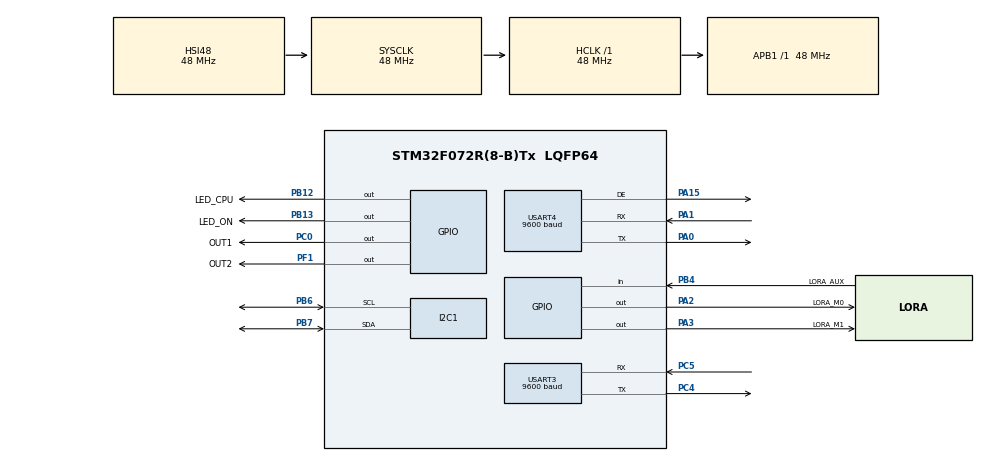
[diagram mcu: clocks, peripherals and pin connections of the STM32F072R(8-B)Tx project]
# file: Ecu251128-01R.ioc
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I2C1.Timing=0x00201D2B
IWDG.Prescaler=IWDG_PRESCALER_64
Mcu.Family=STM32F0
Mcu.Name=STM32F072R(8-B)Tx
Mcu.Package=LQFP64
NVIC.TIM3_IRQn=true\:0\:0\:false\:false\:true\:true\:true\:true
NVIC.USART3_4_IRQn=true\:0\:0\:false\:false\:true\:true\:true\:true
PA0.Mode=Asynchronous
PA0.Signal=USART4_TX
PA1.Mode=Asynchronous
PA1.Signal=USART4_RX
PA15.Mode=Hardware Flow Control (RS485)
PA15.Signal=USART4_DE
PA2.GPIO_Label=LORA_M0
PA2.Signal=GPIO_Output
PA3.GPIO_Label=LORA_M1
PA3.Signal=GPIO_Output
PB12.GPIO_Label=LED_CPU
PB12.Signal=GPIO_Output
PB13.GPIO_Label=LED_ON
PB13.Signal=GPIO_Output
PB4.GPIO_Label=LORA_AUX
PB4.GPIO_PuPd=GPIO_PULLUP
PB4.Signal=GPIO_Input
PB6.Mode=I2C
PB6.Signal=I2C1_SCL
PB7.Mode=I2C
PB7.Signal=I2C1_SDA
PC0.GPIO_Label=OUT1
PC0.Signal=GPIO_Output
PC4.Mode=Asynchronous
PC4.Signal=USART3_TX
PC5.Mode=Asynchronous
PC5.Signal=USART3_RX
PF1-OSC_OUT.GPIO_Label=OUT2
PF1-OSC_OUT.Signal=GPIO_Output
ProjectManager.HeapSize=0x200
ProjectManager.StackSize=0x400
ProjectManager.TargetToolchain=STM32CubeIDE
RCC.AHBFreq_Value=48000000
RCC.APB1Freq_Value=48000000
RCC.APB1TimFreq_Value=48000000
RCC.HCLKFreq_Value=48000000
RCC.SYSCLKFreq_VALUE=48000000
RCC.SYSCLKSource=RCC_SYSCLKSOURCE_HSI48
TIM2.Prescaler=48-1
TIM3.Period=10-1
TIM3.Prescaler=480-1
USART3.BaudRate=9600
USART3.VirtualMode-Asynchronous=VM_ASYNC
USART4.BaudRate=9600
USART4.VirtualMode-Asynchronous=VM_ASYNC
USART4.VirtualMode-Hardware\ Flow\ Control\ (RS485)=VM_ASYNC
VP_IWDG_VS_IWDG.Mode=IWDG_Activate
VP_TIM2_VS_ClockSourceINT.Mode=Internal
VP_TIM3_VS_ClockSourceINT.Mode=Internal
board=custom

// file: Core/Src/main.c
/* USER CODE BEGIN Header */
/**
  ******************************************************************************
  * @file           : main.c
  * @brief          : Main program body
  ******************************************************************************
  * @attention
  *
  * Copyright (c) 2025 STMicroelectronics.
  * All rights reserved.
  *
  * This software is licensed under terms that can be found in the LICENSE file
  * in the root directory of this software component.
  * If no LICENSE file comes with this software, it is provided AS-IS.
  *
  ******************************************************************************
  */
/* USER CODE END Header */
#include "main.h"

/* USER CODE BEGIN Includes */
#include "global.h"
/* USER CODE END Includes */

I2C_HandleTypeDef hi2c1;

IWDG_HandleTypeDef hiwdg;

TIM_HandleTypeDef htim2;
TIM_HandleTypeDef htim3;

UART_HandleTypeDef huart3;
UART_HandleTypeDef huart4;

/* USER CODE BEGIN PV */
uint8_t
	flagAcionamento = false,

	flagLedCOM = false,

	flagPacoteRS485 = false,
	flagPacoteLora = false;

uint8_t
	contadorRS485Buffer = 0,
	contadorLoraBuffer = 0,
	contadorTimeoutLora = 0,
	contadorTimeoutTransmissor = 0,

	contadorRele1 = 0,
	contadorRele2 = 0,

	canalLora = 0;

uint16_t
	enderecoLoraTransmissor = 0,
	enderecoLoraReceptor = 0;

char
	loraDataIn = 0x00,
	rs485DataIn = 0x00;

char
	bufferRS485[TAMANHO_BUFFER_RS485],
	bufferEnviaRS485[TAMANHO_BUFFER_RS485],
	bufferLora[TAMANHO_BUFFER_LORA],
	bufferEnvioLora[TAMANHO_BUFFER_LORA];

/* USER CODE END PV */

void SystemClock_Config(void);
static void MX_GPIO_Init(void);
static void MX_I2C1_Init(void);
static void MX_IWDG_Init(void);
static void MX_TIM2_Init(void);
static void MX_TIM3_Init(void);
static void MX_USART3_UART_Init(void);
static void MX_USART4_UART_Init(void);

/* USER CODE BEGIN 0 */
void HAL_TIM_PeriodElapsedCallback(TIM_HandleTypeDef *htim) {
	if(htim == &htim3) {
		schedulerEngine();
	}
}

void HAL_UART_RxCpltCallback(UART_HandleTypeDef *huart) {
	if(huart-> Instance==USART3) {
		bufferLora[contadorLoraBuffer] = loraDataIn;
		contadorLoraBuffer ++;

		if(contadorLoraBuffer >= TAMANHO_BUFFER_LORA) {
			apagaLoraBuffer();
		}

		//HAL_UART_Transmit(&huart4, &loraDataIn, 1, 100); //Debug

		if(loraDataIn == 0x0A) {
			flagPacoteLora = true;
		}
	}

	if(huart-> Instance==USART4) { //RS485
		if(rs485DataIn == 0x00) {
			return;
		}
		bufferRS485[contadorRS485Buffer] = rs485DataIn;
		contadorRS485Buffer ++;

		if(contadorRS485Buffer >= TAMANHO_BUFFER_RS485) {
			apagaRS485Buffer();
		}

		if(rs485DataIn == 0x0A) {
			flagPacoteRS485 = true;
		}
	}
}

void delayMicro(uint32_t tempo) {
	__HAL_TIM_SET_COUNTER(&htim2, 0);
	while(__HAL_TIM_GET_COUNTER(&htim2) < tempo) {
	}
}

void reiniciaWatchDog() {
	HAL_IWDG_Refresh(&hiwdg);
}

/* USER CODE END 0 */

int main(void)
{

  /* MCU Configuration--------------------------------------------------------*/

  /* Reset of all peripherals, Initializes the Flash interface and the Systick. */
  HAL_Init();

  /* Configure the system clock */
  SystemClock_Config();

  /* Initialize all configured peripherals */
  MX_GPIO_Init();
  MX_I2C1_Init();
  MX_IWDG_Init();
  MX_TIM2_Init();
  MX_TIM3_Init();
  MX_USART3_UART_Init();
  MX_USART4_UART_Init();
  /* USER CODE BEGIN 2 */

  HAL_TIM_Base_Start(&htim2); //Timer do delay us
  HAL_TIM_Base_Start_IT(&htim3); //Timer do Scheduller

  off(LORA_M0_GPIO_Port, LORA_M0_Pin);
  off(LORA_M1_GPIO_Port, LORA_M1_Pin);

  verificaEeprom();
  readEeprom();

  /* USER CODE END 2 */

  /* Infinite loop */
  /* USER CODE BEGIN WHILE */
  while (1)
  {
	  acionamentoRele();
	  protocoloLora();
	  protocoloRS485();
    /* USER CODE END WHILE */

    /* USER CODE BEGIN 3 */
	  HAL_UART_Receive_IT(&huart3, &loraDataIn, 1);
	  HAL_UART_Receive_IT(&huart4, &rs485DataIn, 1);
  }
  /* USER CODE END 3 */
}

void SystemClock_Config(void)
{
  RCC_OscInitTypeDef RCC_OscInitStruct = {0};
  RCC_ClkInitTypeDef RCC_ClkInitStruct = {0};
  RCC_PeriphCLKInitTypeDef PeriphClkInit = {0};

  /** Initializes the RCC Oscillators according to the specified parameters
  * in the RCC_OscInitTypeDef structure.
  */
  RCC_OscInitStruct.OscillatorType = RCC_OSCILLATORTYPE_HSI|RCC_OSCILLATORTYPE_HSI48
                              |RCC_OSCILLATORTYPE_LSI;
  RCC_OscInitStruct.HSIState = RCC_HSI_ON;
  RCC_OscInitStruct.HSI48State = RCC_HSI48_ON;
  RCC_OscInitStruct.HSICalibrationValue = RCC_HSICALIBRATION_DEFAULT;
  RCC_OscInitStruct.LSIState = RCC_LSI_ON;
  RCC_OscInitStruct.PLL.PLLState = RCC_PLL_NONE;
  if (HAL_RCC_OscConfig(&RCC_OscInitStruct) != HAL_OK)
  {
    Error_Handler();
  }

  /** Initializes the CPU, AHB and APB buses clocks
  */
  RCC_ClkInitStruct.ClockType = RCC_CLOCKTYPE_HCLK|RCC_CLOCKTYPE_SYSCLK
                              |RCC_CLOCKTYPE_PCLK1;
  RCC_ClkInitStruct.SYSCLKSource = RCC_SYSCLKSOURCE_HSI48;
  RCC_ClkInitStruct.AHBCLKDivider = RCC_SYSCLK_DIV1;
  RCC_ClkInitStruct.APB1CLKDivider = RCC_HCLK_DIV1;

  if (HAL_RCC_ClockConfig(&RCC_ClkInitStruct, FLASH_LATENCY_1) != HAL_OK)
  {
    Error_Handler();
  }
  PeriphClkInit.PeriphClockSelection = RCC_PERIPHCLK_I2C1;
  PeriphClkInit.I2c1ClockSelection = RCC_I2C1CLKSOURCE_HSI;
  if (HAL_RCCEx_PeriphCLKConfig(&PeriphClkInit) != HAL_OK)
  {
    Error_Handler();
  }
}

static void MX_I2C1_Init(void)
{

  hi2c1.Instance = I2C1;
  hi2c1.Init.Timing = 0x00201D2B;
  hi2c1.Init.OwnAddress1 = 0;
  hi2c1.Init.AddressingMode = I2C_ADDRESSINGMODE_7BIT;
  hi2c1.Init.DualAddressMode = I2C_DUALADDRESS_DISABLE;
  hi2c1.Init.OwnAddress2 = 0;
  hi2c1.Init.OwnAddress2Masks = I2C_OA2_NOMASK;
  hi2c1.Init.GeneralCallMode = I2C_GENERALCALL_DISABLE;
  hi2c1.Init.NoStretchMode = I2C_NOSTRETCH_DISABLE;
  if (HAL_I2C_Init(&hi2c1) != HAL_OK)
  {
    Error_Handler();
  }

  /** Configure Analogue filter
  */
  if (HAL_I2CEx_ConfigAnalogFilter(&hi2c1, I2C_ANALOGFILTER_ENABLE) != HAL_OK)
  {
    Error_Handler();
  }

  /** Configure Digital filter
  */
  if (HAL_I2CEx_ConfigDigitalFilter(&hi2c1, 0) != HAL_OK)
  {
    Error_Handler();
  }

}

static void MX_IWDG_Init(void)
{

  hiwdg.Instance = IWDG;
  hiwdg.Init.Prescaler = IWDG_PRESCALER_64;
  hiwdg.Init.Window = 4095;
  hiwdg.Init.Reload = 4095;
  if (HAL_IWDG_Init(&hiwdg) != HAL_OK)
  {
    Error_Handler();
  }

}

static void MX_TIM2_Init(void)
{

  TIM_ClockConfigTypeDef sClockSourceConfig = {0};
  TIM_MasterConfigTypeDef sMasterConfig = {0};

  htim2.Instance = TIM2;
  htim2.Init.Prescaler = 48-1;
  htim2.Init.CounterMode = TIM_COUNTERMODE_UP;
  htim2.Init.Period = 4294967295;
  htim2.Init.ClockDivision = TIM_CLOCKDIVISION_DIV1;
  htim2.Init.AutoReloadPreload = TIM_AUTORELOAD_PRELOAD_DISABLE;
  if (HAL_TIM_Base_Init(&htim2) != HAL_OK)
  {
    Error_Handler();
  }
  sClockSourceConfig.ClockSource = TIM_CLOCKSOURCE_INTERNAL;
  if (HAL_TIM_ConfigClockSource(&htim2, &sClockSourceConfig) != HAL_OK)
  {
    Error_Handler();
  }
  sMasterConfig.MasterOutputTrigger = TIM_TRGO_RESET;
  sMasterConfig.MasterSlaveMode = TIM_MASTERSLAVEMODE_DISABLE;
  if (HAL_TIMEx_MasterConfigSynchronization(&htim2, &sMasterConfig) != HAL_OK)
  {
    Error_Handler();
  }

}

static void MX_TIM3_Init(void)
{

  TIM_ClockConfigTypeDef sClockSourceConfig = {0};
  TIM_MasterConfigTypeDef sMasterConfig = {0};

  htim3.Instance = TIM3;
  htim3.Init.Prescaler = 480-1;
  htim3.Init.CounterMode = TIM_COUNTERMODE_UP;
  htim3.Init.Period = 10-1;
  htim3.Init.ClockDivision = TIM_CLOCKDIVISION_DIV1;
  htim3.Init.AutoReloadPreload = TIM_AUTORELOAD_PRELOAD_DISABLE;
  if (HAL_TIM_Base_Init(&htim3) != HAL_OK)
  {
    Error_Handler();
  }
  sClockSourceConfig.ClockSource = TIM_CLOCKSOURCE_INTERNAL;
  if (HAL_TIM_ConfigClockSource(&htim3, &sClockSourceConfig) != HAL_OK)
  {
    Error_Handler();
  }
  sMasterConfig.MasterOutputTrigger = TIM_TRGO_RESET;
  sMasterConfig.MasterSlaveMode = TIM_MASTERSLAVEMODE_DISABLE;
  if (HAL_TIMEx_MasterConfigSynchronization(&htim3, &sMasterConfig) != HAL_OK)
  {
    Error_Handler();
  }

}

static void MX_USART3_UART_Init(void)
{

  huart3.Instance = USART3;
  huart3.Init.BaudRate = 9600;
  huart3.Init.WordLength = UART_WORDLENGTH_8B;
  huart3.Init.StopBits = UART_STOPBITS_1;
  huart3.Init.Parity = UART_PARITY_NONE;
  huart3.Init.Mode = UART_MODE_TX_RX;
  huart3.Init.HwFlowCtl = UART_HWCONTROL_NONE;
  huart3.Init.OverSampling = UART_OVERSAMPLING_16;
  huart3.Init.OneBitSampling = UART_ONE_BIT_SAMPLE_DISABLE;
  huart3.AdvancedInit.AdvFeatureInit = UART_ADVFEATURE_NO_INIT;
  if (HAL_UART_Init(&huart3) != HAL_OK)
  {
    Error_Handler();
  }

}

static void MX_USART4_UART_Init(void)
{

  huart4.Instance = USART4;
  huart4.Init.BaudRate = 9600;
  huart4.Init.WordLength = UART_WORDLENGTH_8B;
  huart4.Init.StopBits = UART_STOPBITS_1;
  huart4.Init.Parity = UART_PARITY_NONE;
  huart4.Init.Mode = UART_MODE_TX_RX;
  huart4.Init.HwFlowCtl = UART_HWCONTROL_NONE;
  huart4.Init.OverSampling = UART_OVERSAMPLING_16;
  huart4.Init.OneBitSampling = UART_ONE_BIT_SAMPLE_DISABLE;
  huart4.AdvancedInit.AdvFeatureInit = UART_ADVFEATURE_NO_INIT;
  if (HAL_RS485Ex_Init(&huart4, UART_DE_POLARITY_HIGH, 0, 0) != HAL_OK)
  {
    Error_Handler();
  }

}

static void MX_GPIO_Init(void)
{
  GPIO_InitTypeDef GPIO_InitStruct = {0};

  /* GPIO Ports Clock Enable */
  __HAL_RCC_GPIOF_CLK_ENABLE();
  __HAL_RCC_GPIOC_CLK_ENABLE();
  __HAL_RCC_GPIOA_CLK_ENABLE();
  __HAL_RCC_GPIOB_CLK_ENABLE();

  /*Configure GPIO pin Output Level */
  HAL_GPIO_WritePin(OUT2_GPIO_Port, OUT2_Pin, GPIO_PIN_RESET);

  /*Configure GPIO pin Output Level */
  HAL_GPIO_WritePin(OUT1_GPIO_Port, OUT1_Pin, GPIO_PIN_RESET);

  /*Configure GPIO pin Output Level */
  HAL_GPIO_WritePin(GPIOA, LORA_M0_Pin|LORA_M1_Pin, GPIO_PIN_RESET);

  /*Configure GPIO pin Output Level */
  HAL_GPIO_WritePin(GPIOB, LED_CPU_Pin|LED_ON_Pin, GPIO_PIN_RESET);

  /*Configure GPIO pin : OUT2_Pin */
  GPIO_InitStruct.Pin = OUT2_Pin;
  GPIO_InitStruct.Mode = GPIO_MODE_OUTPUT_PP;
  GPIO_InitStruct.Pull = GPIO_NOPULL;
  GPIO_InitStruct.Speed = GPIO_SPEED_FREQ_LOW;
  HAL_GPIO_Init(OUT2_GPIO_Port, &GPIO_InitStruct);

  /*Configure GPIO pin : OUT1_Pin */
  GPIO_InitStruct.Pin = OUT1_Pin;
  GPIO_InitStruct.Mode = GPIO_MODE_OUTPUT_PP;
  GPIO_InitStruct.Pull = GPIO_NOPULL;
  GPIO_InitStruct.Speed = GPIO_SPEED_FREQ_LOW;
  HAL_GPIO_Init(OUT1_GPIO_Port, &GPIO_InitStruct);

  /*Configure GPIO pins : LORA_M0_Pin LORA_M1_Pin */
  GPIO_InitStruct.Pin = LORA_M0_Pin|LORA_M1_Pin;
  GPIO_InitStruct.Mode = GPIO_MODE_OUTPUT_PP;
  GPIO_InitStruct.Pull = GPIO_NOPULL;
  GPIO_InitStruct.Speed = GPIO_SPEED_FREQ_LOW;
  HAL_GPIO_Init(GPIOA, &GPIO_InitStruct);

  /*Configure GPIO pins : LED_CPU_Pin LED_ON_Pin */
  GPIO_InitStruct.Pin = LED_CPU_Pin|LED_ON_Pin;
  GPIO_InitStruct.Mode = GPIO_MODE_OUTPUT_PP;
  GPIO_InitStruct.Pull = GPIO_NOPULL;
  GPIO_InitStruct.Speed = GPIO_SPEED_FREQ_LOW;
  HAL_GPIO_Init(GPIOB, &GPIO_InitStruct);

  /*Configure GPIO pin : LORA_AUX_Pin */
  GPIO_InitStruct.Pin = LORA_AUX_Pin;
  GPIO_InitStruct.Mode = GPIO_MODE_INPUT;
  GPIO_InitStruct.Pull = GPIO_PULLUP;
  HAL_GPIO_Init(LORA_AUX_GPIO_Port, &GPIO_InitStruct);

}

void Error_Handler(void)
{
  __disable_irq();
  while (1)
  {
  }
}
